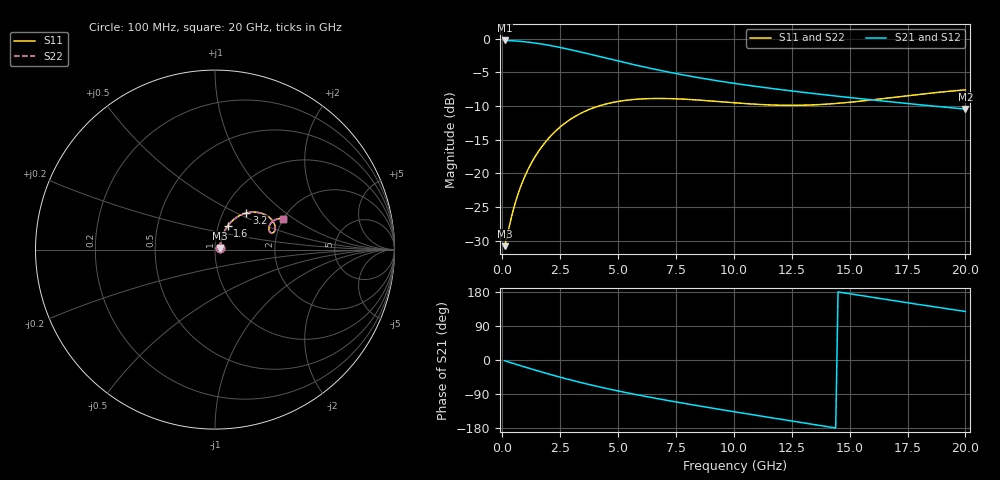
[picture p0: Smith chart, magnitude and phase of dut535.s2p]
! Touchstone file exported from HFSS 2024.1.0
!  File:  C:/UserFiles/LocalFiles/RDL_TSV_Batchsim/temp_RDL_TSV_535_1779745743.aedt
!  Generated:  06:04:57 AM May 26, 2026
!  Design:  RDL_TSV
!  Project:  temp_RDL_TSV_535_1779745743
!  Setup:  Setup1
!  Solution:  Sweep
! Variables:
!  dtsv = 7.03um
!  hbump = 3um
!  htsv = 86.73um
!  ldown = 426.96um
!  lrdl = 498.36um
!  p = 40
!  p1 = 47.09um
!  rhole = 10um
!  subl = 3274.32um
!  t = 450um
!  tdown = 2.81um
!  trdl = 4.55um
!  viad = 10um
!  wdown = 11.18um
!  wrdl = 12.72um
!  xbump = 18um
# GHz S MA R 50.000000
! Terminal data exported
! Port[1] = TM1_1_T1
! Port[2] = TM1_4_T1
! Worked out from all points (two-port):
!   200 points, 100 MHz to 20 GHz, reference 50 ohm
!   highest |S21| = -0.24 dB at 100 MHz (marker M1); lowest = -10.4 dB at 20 GHz (marker M2)
!   |S21| within 3 dB of the highest: start of sweep to 4.936 GHz
!   lowest |S11| = -30.8 dB at 100 MHz (marker M3), VSWR 1.06, Z = 52.8 + j0.989 ohm
!   |S11| at or under -10 dB: start of sweep to 4.161 GHz
!   |S22| runs from -30.8 to -7.6 dB; largest |S21 - S12| = 4.3e-14
!   S11 on the Smith chart (normalised r, x): 100 MHz: 1.06, +0.02; 1.6 GHz: 1.11, +0.30; 3.2 GHz: 1.28, +0.56; 20 GHz: 2.00, +0.83
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0.1  0.02872 19.0  0.9728 -2.0  0.9728 -2.0  0.02872 19.0
! Gamma 0 0 0 0
! Port Impedance 50 0 50 0
0.5  0.05548 53.9  0.9661 -9.7  0.9661 -9.7  0.05548 53.9
0.8  0.08026 60.4  0.9574 -15.3  0.9574 -15.3  0.08026 60.4
1.2  0.1144 62.6  0.9413 -22.7  0.9413 -22.7  0.1144 62.6
1.6  0.1487 61.8  0.9208 -29.9  0.9208 -29.9  0.1487 61.7
2  0.182 59.5  0.8966 -37.0  0.8966 -37.0  0.1819 59.4
2.4  0.2135 56.5  0.8698 -43.7  0.8698 -43.7  0.2134 56.4
2.8  0.2425 53.0  0.8412 -50.3  0.8412 -50.3  0.2423 53.0
3.2  0.2683 49.5  0.8118 -56.5  0.8118 -56.5  0.2681 49.4
3.5  0.2855 46.7  0.7896 -61.0  0.7896 -61.0  0.2851 46.6
4.2  0.3178 40.6  0.7388 -71.1  0.7388 -71.1  0.3173 40.5
5.1  0.3445 33.5  0.6781 -83.0  0.6781 -83.0  0.3438 33.4
5.9  0.3565 28.2  0.6303 -92.7  0.6303 -92.7  0.3557 28.1
6.8  0.3603 23.4  0.5836 -103.1  0.5836 -103.1  0.3594 23.3
8.4  0.3513 18.0  0.5172 -120.2  0.5172 -120.2  0.3502 17.9
10.1  0.3338 16.2  0.4644 -137.4  0.4644 -137.4  0.3324 16.2
11.7  0.3219 17.8  0.426 -153.2  0.426 -153.2  0.3205 17.8
13.4  0.3226 21.3  0.3928 -169.7  0.3928 -169.7  0.3213 21.4
15  0.3376 24.5  0.3661 174.8  0.3661 174.8  0.3365 24.6
16.7  0.3638 26.1  0.3411 158.6  0.3411 158.6  0.363 26.3
18.3  0.3914 25.9  0.3201 143.6  0.3201 143.6  0.3907 26.1
20  0.4177 24.3  0.3004 128.0  0.3004 128.0  0.4172 24.4
